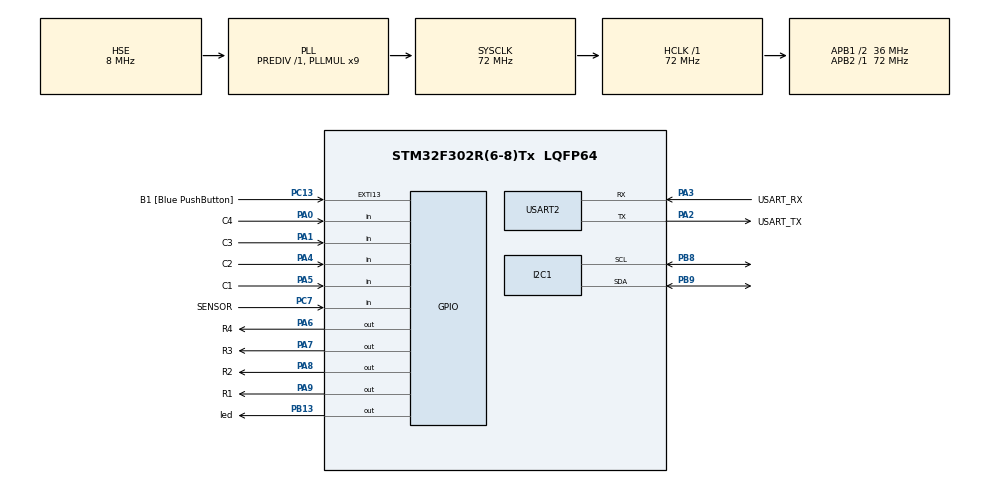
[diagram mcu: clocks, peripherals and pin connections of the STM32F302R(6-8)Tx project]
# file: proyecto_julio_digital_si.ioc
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Mcu.Family=STM32F3
Mcu.Name=STM32F302R(6-8)Tx
Mcu.Package=LQFP64
NVIC.PriorityGroup=NVIC_PRIORITYGROUP_0
PA0.GPIO_Label=C4
PA0.GPIO_PuPd=GPIO_PULLUP
PA0.Signal=GPIO_Input
PA1.GPIO_Label=C3
PA1.GPIO_PuPd=GPIO_PULLUP
PA1.Signal=GPIO_Input
PA13.GPIO_Label=TMS
PA13.Mode=Serial_Wire
PA13.Signal=SYS_JTMS-SWDIO
PA14.GPIO_Label=TCK
PA14.Mode=Serial_Wire
PA14.Signal=SYS_JTCK-SWCLK
PA2.GPIO_Label=USART_TX
PA2.GPIO_Mode=GPIO_MODE_AF_PP
PA2.GPIO_PuPd=GPIO_NOPULL
PA2.GPIO_Speed=GPIO_SPEED_FREQ_LOW
PA2.Mode=Asynchronous
PA2.Signal=USART2_TX
PA3.GPIO_Label=USART_RX
PA3.GPIO_Mode=GPIO_MODE_AF_PP
PA3.GPIO_PuPd=GPIO_NOPULL
PA3.GPIO_Speed=GPIO_SPEED_FREQ_LOW
PA3.Mode=Asynchronous
PA3.Signal=USART2_RX
PA4.GPIO_Label=C2
PA4.GPIO_PuPd=GPIO_PULLUP
PA4.Signal=GPIO_Input
PA5.GPIO_Label=C1
PA5.GPIO_PuPd=GPIO_PULLUP
PA5.Signal=GPIO_Input
PA6.GPIO_Label=R4
PA6.Signal=GPIO_Output
PA7.GPIO_Label=R3
PA7.Signal=GPIO_Output
PA8.GPIO_Label=R2
PA8.Signal=GPIO_Output
PA9.GPIO_Label=R1
PA9.Signal=GPIO_Output
PB13.GPIO_Label=led
PB13.Signal=GPIO_Output
PB8.Mode=I2C
PB8.Signal=I2C1_SCL
PB9.Mode=I2C
PB9.Signal=I2C1_SDA
PC13.GPIO_Label=B1 [Blue PushButton]
PC13.GPIO_ModeDefaultEXTI=GPIO_MODE_IT_FALLING
PC13.Signal=GPXTI13
PC14\ -\ OSC32_IN.Mode=LSE-External-Oscillator
PC14\ -\ OSC32_IN.Signal=RCC_OSC32_IN
PC15\ -\ OSC32_OUT.Mode=LSE-External-Oscillator
PC15\ -\ OSC32_OUT.Signal=RCC_OSC32_OUT
PC7.GPIO_Label=SENSOR
PC7.Signal=GPIO_Input
PF0-OSC_IN.Mode=HSE-External-Clock-Source
PF0-OSC_IN.Signal=RCC_OSC_IN
PF1-OSC_OUT.Signal=RCC_OSC_OUT
ProjectManager.HeapSize=0x200
ProjectManager.StackSize=0x400
ProjectManager.TargetToolchain=STM32CubeIDE
RCC.AHBFreq_Value=72000000
RCC.APB1CLKDivider=RCC_HCLK_DIV2
RCC.APB1Freq_Value=36000000
RCC.APB1TimFreq_Value=72000000
RCC.APB2Freq_Value=72000000
RCC.APB2TimFreq_Value=72000000
RCC.CortexFreq_Value=72000000
RCC.HCLKFreq_Value=72000000
RCC.HSE_VALUE=8000000
RCC.HSI_VALUE=8000000
RCC.PLLM=8
RCC.PLLMUL=RCC_PLL_MUL9
RCC.PLLN=336
RCC.PLLP=RCC_PLLP_DIV4
RCC.PLLQ=7
RCC.PLLSourceVirtual=RCC_PLLSOURCE_HSE
RCC.SYSCLKFreq_VALUE=72000000
RCC.SYSCLKSourceVirtual=RCC_SYSCLKSOURCE_PLLCLK
RCC.USBFreq_Value=72000000
USART2.VirtualMode-Asynchronous=VM_ASYNC
board=NUCLEO-F302R8

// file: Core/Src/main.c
/* USER CODE BEGIN Header */
/**
  ******************************************************************************
  * @file           : main.c
  * @brief          : Main program body
  ******************************************************************************
  * @attention
  *
  * Copyright (c) 2025 STMicroelectronics.
  * All rights reserved.
  *
  * This software is licensed under terms that can be found in the LICENSE file
  * in the root directory of this software component.
  * If no LICENSE file comes with this software, it is provided AS-IS.
  *
  ******************************************************************************
  */
/* USER CODE END Header */
#include "main.h"

/* USER CODE BEGIN Includes */
#include "keypadmodify.h"
#include "lcd.h"
#include <stdio.h>
#include <stdlib.h>
#include <string.h>
/* USER CODE END Includes */

/* USER CODE BEGIN PD */
#define BOMBA_PIN GPIO_PIN_8       // Define el pin para la bomba
#define BOMBA_PORT GPIOC           // Define el puerto para la bomba
#define SENSOR_HUMEDAD_PIN GPIO_PIN_0  // Define el pin ADC para sensor de humedad
#define UMBRAL_HUMEDAD_MIN 30      // Valor mínimo de humedad (0-100)
#define UMBRAL_HUMEDAD_MAX 70      // Valor óptimo de humedad (0-100)
#define TIEMPO_MAX_DEFAULT 60      // Tiempo máximo de riego predeterminado (segundos)
#define DS3231_ADDRESS 0xD0
#define TIEMPO_RIEGO_PROGRAMADO 12  // 12 segundos para el riego programado

/* USER CODE END PD */

I2C_HandleTypeDef hi2c1;

UART_HandleTypeDef huart2;

/* USER CODE BEGIN PV */
char key;
uint8_t menu_state = 0;  // 0: Menú principal, 1: Modo Automático, 2: Modo Manual, 3: Configuración
uint8_t cursor_position = 0;  // Posición del cursor en el menú
uint8_t humedad_actual = 0;   // Valor de humedad (0-100%)
uint32_t tiempo_max_riego = TIEMPO_MAX_DEFAULT;  // Tiempo máximo para riego manual
uint32_t tiempo_inicio_riego = 0;  // Para controlar el tiempo de riego manual
uint8_t bomba_activa = 0;     // Estado de la bomba
//char buffer[16];

uint8_t hora_riego = 7;     // Hora programada (por defecto 7:00)
uint8_t minuto_riego = 0;   // Minuto programado
uint8_t riego_programado_activo = 1;  // 1: activo, 0: inactivo
uint8_t configurando_hora = 0; // Estado para configuración de hora
uint32_t medida;
/* USER CODE END PV */

void SystemClock_Config(void);
static void MX_GPIO_Init(void);
static void MX_USART2_UART_Init(void);
static void MX_I2C1_Init(void);
/* USER CODE BEGIN PFP */
void display_menu(void);
void modo_automatico(void);
void modo_manual(void);
void configurar_tiempo(void);
void activar_bomba(void);
void desactivar_bomba(void);
uint8_t leer_humedad(void);
void mostrar_humedad(void);
void actualizar_estado(void);
void configurar_rtc(void);  // Añadir este prototipo
/* USER CODE END PFP */

/* USER CODE BEGIN 0 */

uint8_t decToBcd(int val)
{
  return (uint8_t)( (val/10*16) + (val%10) );
}
// Convert binary coded decimal to normal decimal numbers
int bcdToDec(uint8_t val)
{
  return (int)( (val/16*10) + (val%16) );
}

typedef struct {
	uint8_t seconds;
	uint8_t minutes;
	uint8_t hour;
	uint8_t dayofweek;
	uint8_t dayofmonth;
	uint8_t month;
	uint8_t year;
} TIME;

TIME time;

void Set_Time (uint8_t sec, uint8_t min, uint8_t hour, uint8_t dow, uint8_t dom, uint8_t month, uint8_t year)
{
	uint8_t set_time[7];
	set_time[0] = decToBcd(sec);
	set_time[1] = decToBcd(min);
	set_time[2] = decToBcd(hour);
	set_time[3] = decToBcd(dow);
	set_time[4] = decToBcd(dom);
	set_time[5] = decToBcd(month);
	set_time[6] = decToBcd(year);

	HAL_I2C_Mem_Write(&hi2c1, DS3231_ADDRESS, 0x00, 1, set_time, 7, 1000);
}

void Get_Time (void)
{
	uint8_t get_time[7];
	HAL_I2C_Mem_Read(&hi2c1, DS3231_ADDRESS, 0x00, 1, get_time, 7, 1000);
	time.seconds = bcdToDec(get_time[0]);
	time.minutes = bcdToDec(get_time[1]);
	time.hour = bcdToDec(get_time[2]);
	time.dayofweek = bcdToDec(get_time[3]);
	time.dayofmonth = bcdToDec(get_time[4]);
	time.month = bcdToDec(get_time[5]);
	time.year = bcdToDec(get_time[6]);
}

float Get_Temp (void)
{
	uint8_t temp[2];

	HAL_I2C_Mem_Read(&hi2c1, DS3231_ADDRESS, 0x11, 1, temp, 2, 1000);
	return ((temp[0])+(temp[1]>>6)/4.0);
}

void force_temp_conv (void)
{
	uint8_t status=0;
	uint8_t control=0;
	HAL_I2C_Mem_Read(&hi2c1, DS3231_ADDRESS, 0x0F, 1, &status, 1, 100);  // read status register
	if (!(status&0x04))
	{
		HAL_I2C_Mem_Read(&hi2c1, DS3231_ADDRESS, 0x0E, 1, &control, 1, 100);  // read control register
		HAL_I2C_Mem_Write(&hi2c1, DS3231_ADDRESS, 0x0E, 1, (uint8_t *)(control|(0x20)), 1, 100);
	}
}

float TEMP;
char buffer[15];

void handle_selection(void) {
    lcd_clear();

    if (cursor_position == 0) {
        lcd_enviar("MODO AUTOMATICO", 0, 0);
        lcd_enviar("ACTIVADO", 1, 0);
        // Aquí iría el código para el modo automático
    } else {
        lcd_enviar("MODO MANUAL", 0, 0);
        lcd_enviar("ACTIVADO", 1, 0);
        // Aquí iría el código para el modo manual
    }

    lcd_enviar("* PARA VOLVER", 3, 0);
}

void display_menu(void) {
    lcd_clear();

    // Solo mostramos 2 opciones a la vez (para display 16x2)
    if (cursor_position == 0) {
        lcd_enviar(">1.Auto", 0, 0);
        lcd_enviar(" 2.Manual", 1, 0);
    }
    else if (cursor_position == 1) {
        lcd_enviar(" 1.Auto", 0, 0);
        lcd_enviar(">2.Manual", 1, 0);
    }
    else if (cursor_position == 2) {
        lcd_enviar(">3.Config", 0, 0);
        lcd_enviar(" 4.Reloj", 1, 0);
    }
    else if (cursor_position == 3) {
        lcd_enviar(" 3.Config", 0, 0);
        lcd_enviar(">4.Reloj", 1, 0);
    }
}

void mostrar_reloj(void) {
    uint8_t salir = 0;

    while (!salir) {
        // Obtener la hora actual
        Get_Time();

        lcd_clear();
        sprintf(buffer, "HORA: %02d:%02d:%02d", time.hour, time.minutes, time.seconds);
        lcd_enviar(buffer, 0, 0);
        sprintf(buffer, "FECHA: %02d/%02d/%02d", time.dayofmonth, time.month, time.year);
        lcd_enviar(buffer, 1, 0);

        // Verificar entrada del usuario
        char k = Keypad_Get_Char();
        if (k != 0) {
            HAL_Delay(200);  // Debounce

            if (k == '*') {
                salir = 1;  // Volver al menú principal
            }
            else if (k == '#') {
                // Entrar en modo configuración
                configurar_rtc();
            }
        }

        HAL_Delay(200);  // Actualizar cada 200ms
    }
}

void configurar_hora_riego(void) {
    uint8_t nueva_hora = hora_riego;
    uint8_t nuevo_minuto = minuto_riego;
    uint8_t estado = 0;  // 0: configurando hora, 1: configurando minutos, 2: activar/desactivar
    uint8_t salir = 0;

    while (!salir) {
        lcd_clear();

        if (estado == 0) {
            lcd_enviar("CONF. HORA RIEGO", 0, 0);
            sprintf(buffer, "HORA: %02d  #:SIG", nueva_hora);
            lcd_enviar(buffer, 1, 0);
        }
        else if (estado == 1) {
            lcd_enviar("CONF. MIN RIEGO", 0, 0);
            sprintf(buffer, "MIN: %02d  #:SIG", nuevo_minuto);
            lcd_enviar(buffer, 1, 0);
        }
        else if (estado == 2) {
            lcd_enviar("PROGRAMADOR", 0, 0);
            sprintf(buffer, "%s  #:GUARDAR", riego_programado_activo ? "ACTIVADO" : "DESACTIVADO");
            lcd_enviar(buffer, 1, 0);
        }

        char k = Keypad_Get_Char();

        if (k != 0) {
            HAL_Delay(200);  // Debounce

            if (estado == 0) {  // Configurando hora
                if (k >= '0' && k <= '9') {
                    uint8_t valor = k - '0';
                    if (valor <= 23) {
                        nueva_hora = valor;
                    }
                }
                else if (k == 'A' && nueva_hora < 23) {
                    nueva_hora++;
                }
                else if (k == 'B' && nueva_hora > 0) {
                    nueva_hora--;
                }
                else if (k == '#') {
                    estado = 1;  // Pasar a configurar minutos
                }
                else if (k == '*') {
                    salir = 1;  // Cancelar
                }
            }
            else if (estado == 1) {  // Configurando minutos
                if (k >= '0' && k <= '9') {
                    uint8_t valor = k - '0';
                    if (valor <= 59) {
                        nuevo_minuto = valor;
                    }
                }
                else if (k == 'A' && nuevo_minuto < 59) {
                    nuevo_minuto++;
                }
                else if (k == 'B' && nuevo_minuto > 0) {
                    nuevo_minuto--;
                }
                else if (k == '#') {
                    estado = 2;  // Pasar a activar/desactivar
                }
                else if (k == '*') {
                    estado = 0;  // Volver a configurar hora
                }
            }
            else if (estado == 2) {  // Activando/desactivando
                if (k == 'A' || k == 'B') {
                    riego_programado_activo = !riego_programado_activo;
                }
                else if (k == '#') {
                    // Guardar configuración
                    hora_riego = nueva_hora;
                    minuto_riego = nuevo_minuto;

                    lcd_clear();
                    lcd_enviar("HORA GUARDADA", 0, 0);
                    sprintf(buffer, "%02d:%02d %s", hora_riego, minuto_riego,
                            riego_programado_activo ? "ON" : "OFF");
                    lcd_enviar(buffer, 1, 0);
                    HAL_Delay(1500);

                    salir = 1;
                }
                else if (k == '*') {
                    estado = 1;  // Volver a configurar minutos
                }
            }
        }
    }
}

void modo_automatico(void) {
    lcd_clear();

    // Leer el estado actual del sensor de humedad
    humedad_actual = leer_humedad();

    // Variable estática para saber si se activó por tiempo programado
    static uint8_t activado_por_tiempo = 0;

    // Si está regando, mostrar información según el origen
    if (bomba_activa) {
        if (activado_por_tiempo) {
            // Mostrar tiempo restante si fue activado por tiempo programado
            uint32_t tiempo_transcurrido = (HAL_GetTick() - tiempo_inicio_riego) / 1000;
            uint32_t tiempo_restante = TIEMPO_RIEGO_PROGRAMADO;

            if (tiempo_transcurrido < TIEMPO_RIEGO_PROGRAMADO) {
                tiempo_restante = TIEMPO_RIEGO_PROGRAMADO - tiempo_transcurrido;
                lcd_enviar("REGANDO:TIEMPO", 0, 0);
                sprintf(buffer, "RESTA: %lu seg", tiempo_restante);
                lcd_enviar(buffer, 1, 0);

                // Si se completó el tiempo, desactivar bomba
                if (tiempo_restante <= 0) {
                    desactivar_bomba();
                    activado_por_tiempo = 0;
                }
            } else {
                desactivar_bomba();
                activado_por_tiempo = 0;
            }
        } else if (humedad_actual < UMBRAL_HUMEDAD_MIN) {
            // Activado por humedad baja
            lcd_enviar("REGANDO:HUMEDAD", 0, 0);
            sprintf(buffer, "HUM:%d%% BAJA", humedad_actual);
            lcd_enviar(buffer, 1, 0);
        }
    } else {
        // Mostrar hora actual en el modo standby
        sprintf(buffer, "AUTO %02d:%02d:%02d", time.hour, time.minutes, time.seconds);
        lcd_enviar(buffer, 0, 0);

        // Mostrar información alternada en segunda línea
        static uint8_t mostrar_info = 0;

        if (mostrar_info == 0) {
            // Mostrar humedad actual y opción de configuración
            sprintf(buffer, "HUM:%d%% C:CFG", humedad_actual);
            lcd_enviar(buffer, 1, 0);
        } else {
            // Mostrar hora programada
            sprintf(buffer, "PROG:%02d:%02d %s", hora_riego, minuto_riego,
                    riego_programado_activo ? "ON" : "OFF");
            lcd_enviar(buffer, 1, 0);
        }

        // Alternar la información mostrada cada 3 segundos
        static uint32_t ultimo_cambio = 0;
        if (HAL_GetTick() - ultimo_cambio >= 3000) {
            mostrar_info = !mostrar_info;
            ultimo_cambio = HAL_GetTick();
        }

        // Lógica de control automático por humedad
        if (humedad_actual < UMBRAL_HUMEDAD_MIN && !bomba_activa) {
            activar_bomba();
            activado_por_tiempo = 0;  // No activado por tiempo
            lcd_clear();
            lcd_enviar("REGANDO:HUMEDAD", 0, 0);
            sprintf(buffer, "HUM:%d%% BAJA", humedad_actual);
            lcd_enviar(buffer, 1, 0);
        }
        else if (humedad_actual >= UMBRAL_HUMEDAD_MAX && bomba_activa && !activado_por_tiempo) {
            desactivar_bomba();
        }

        // Lógica de riego programado
        if (riego_programado_activo && !bomba_activa) {
            // Actualizar la hora actual ya se hace en el bucle principal
            if (time.hour == hora_riego && time.minutes == minuto_riego && time.seconds < 10) {
                // Iniciar riego si es la hora programada
                activar_bomba();
                activado_por_tiempo = 1;  // Marcar como activado por tiempo
                lcd_clear();
                lcd_enviar("REGANDO:TIEMPO", 0, 0);
                sprintf(buffer, "PROG:%02d:%02d %ds", hora_riego, minuto_riego, TIEMPO_RIEGO_PROGRAMADO);
                lcd_enviar(buffer, 1, 0);
            }
        }
    }
}

void modo_manual(void) {
    lcd_clear();
    lcd_enviar("MODO MANUAL", 0, 0);
    sprintf(buffer, "TIEMPO: %lu s", tiempo_max_riego);
    lcd_enviar(buffer, 1, 0);

    if (bomba_activa) {
        uint32_t tiempo_transcurrido = (HAL_GetTick() - tiempo_inicio_riego) / 1000;
        uint32_t tiempo_restante = tiempo_max_riego;

        if (tiempo_transcurrido < tiempo_max_riego) {
            tiempo_restante = tiempo_max_riego - tiempo_transcurrido;
            lcd_clear();
            lcd_enviar("REGANDO", 0, 0);
            sprintf(buffer, "%lu s  C:PARAR", tiempo_restante);
            lcd_enviar(buffer, 1, 0);
        } else {
            desactivar_bomba();
            lcd_clear();
            lcd_enviar("COMPLETO", 0, 0);
            lcd_enviar("* PARA VOLVER", 1, 0);
        }
    } else {
        lcd_clear();
        lcd_enviar("A+ B- #:RIEGO", 0, 0);
        sprintf(buffer, "TIEMPO: %lu s", tiempo_max_riego);
        lcd_enviar(buffer, 1, 0);
    }
}
void configurar_tiempo(void) {
    lcd_clear();
    lcd_enviar("CONFIG. TIEMPO", 0, 0);
    sprintf(buffer, "ACTUAL: %d seg", tiempo_max_riego);
    lcd_enviar(buffer, 1, 0);

    // Instrucciones para usar letras
    lcd_enviar("A:+5 B:+10 C:+30 D:-", 2, 0);
    lcd_enviar("* CANCEL   # GUARDAR", 3, 0);

    uint32_t nuevo_tiempo = tiempo_max_riego;
    int salir = 0;

    while (!salir) {
        char k = Keypad_Get_Char();

        if (k != 0) {
            HAL_Delay(200);  // Debounce

            switch(k) {
                case 'A':
                    nuevo_tiempo += 5;  // Incrementar 5 segundos
                    lcd_clear();
                    lcd_enviar("CONFIG. TIEMPO", 0, 0);
                    sprintf(buffer, "NUEVO: %d seg", nuevo_tiempo);
                    lcd_enviar(buffer, 1, 0);
                    lcd_enviar("A:+5 B:+10 C:+30 D:-", 2, 0);
                    lcd_enviar("* CANCEL   # GUARDAR", 3, 0);
                    break;

                case 'B':
                    nuevo_tiempo += 10;  // Incrementar 10 segundos
                    lcd_clear();
                    lcd_enviar("CONFIG. TIEMPO", 0, 0);
                    sprintf(buffer, "NUEVO: %d seg", nuevo_tiempo);
                    lcd_enviar(buffer, 1, 0);
                    lcd_enviar("A:+5 B:+10 C:+30 D:-", 2, 0);
                    lcd_enviar("* CANCEL   # GUARDAR", 3, 0);
                    break;

                case 'C':
                    nuevo_tiempo += 30;  // Incrementar 30 segundos
                    lcd_clear();
                    lcd_enviar("CONFIG. TIEMPO", 0, 0);
                    sprintf(buffer, "NUEVO: %d seg", nuevo_tiempo);
                    lcd_enviar(buffer, 1, 0);
                    lcd_enviar("A:+5 B:+10 C:+30 D:-", 2, 0);
                    lcd_enviar("* CANCEL   # GUARDAR", 3, 0);
                    break;

                case 'D':
                    if (nuevo_tiempo > 5) {
                        nuevo_tiempo = nuevo_tiempo / 2;  // Reducir a la mitad (más divertido que solo restar)
                    }
                    lcd_clear();
                    lcd_enviar("CONFIG. TIEMPO", 0, 0);
                    sprintf(buffer, "NUEVO: %d seg", nuevo_tiempo);
                    lcd_enviar(buffer, 1, 0);
                    lcd_enviar("A:+5 B:+10 C:+30 D:-", 2, 0);
                    lcd_enviar("* CANCEL   # GUARDAR", 3, 0);
                    break;

                case '#':
                    // Limitar el tiempo máximo a 300 segundos (5 minutos)
                    if (nuevo_tiempo > 300) nuevo_tiempo = 300;
                    if (nuevo_tiempo < 5) nuevo_tiempo = 5;

                    tiempo_max_riego = nuevo_tiempo;

                    // Mostrar animación de guardado
                    lcd_clear();
                    lcd_enviar("GUARDANDO", 0, 0);
                    lcd_enviar("[          ]", 1, 0);

                    for (int i = 1; i <= 10; i++) {
                        sprintf(buffer, "[");
                        for (int j = 0; j < i; j++) {
                            strcat(buffer, "#");
                        }
                        for (int j = i; j < 10; j++) {
                            strcat(buffer, " ");
                        }
                        strcat(buffer, "]");
                        lcd_enviar(buffer, 1, 0);
                        HAL_Delay(100);
                    }

                    lcd_clear();
                    lcd_enviar("TIEMPO CONFIGURADO", 0, 0);
                    sprintf(buffer, "NUEVO: %d seg", tiempo_max_riego);
                    lcd_enviar(buffer, 1, 0);
                    HAL_Delay(1500);

                    salir = 1;
                    break;

                case '*':
                    // Mostrar mensaje de cancelación
                    lcd_clear();
                    lcd_enviar("CONFIGURACION", 0, 0);
                    lcd_enviar("CANCELADA", 1, 0);
                    HAL_Delay(1000);
                    salir = 1;
                    break;
            }
        }
    }
}
void verificar_tiempo_riego(void) {
    if (bomba_activa && menu_state == 2) {  // Solo en modo manual
        uint32_t tiempo_actual = HAL_GetTick();
        uint32_t tiempo_transcurrido = (tiempo_actual - tiempo_inicio_riego) / 1000;

        if (tiempo_transcurrido >= tiempo_max_riego) {
            desactivar_bomba();
            modo_manual();  // Actualizar la pantalla
        }
    }
}

void activar_bomba(void) {
    // Activar bomba
    HAL_GPIO_WritePin(BOMBA_PORT, BOMBA_PIN, GPIO_PIN_SET);
    // Activar LED indicador
    HAL_GPIO_WritePin(led_GPIO_Port, led_Pin, GPIO_PIN_SET);
    bomba_activa = 1;
    tiempo_inicio_riego = HAL_GetTick();  // Registrar tiempo de inicio
}

void desactivar_bomba(void) {
    // Desactivar bomba
    HAL_GPIO_WritePin(BOMBA_PORT, BOMBA_PIN, GPIO_PIN_RESET);
    // Desactivar LED indicador
    HAL_GPIO_WritePin(led_GPIO_Port, led_Pin, GPIO_PIN_RESET);
    bomba_activa = 0;
}

uint8_t leer_humedad(void) {
    // Leer el pin digital del sensor
    // Si el pin es LOW (0), indica que hay humedad (suelo húmedo)
    // Si el pin es HIGH (1), indica que no hay humedad (suelo seco)

    if (HAL_GPIO_ReadPin(SENSOR_GPIO_Port, SENSOR_Pin) == GPIO_PIN_RESET) {
        // Sensor detecta humedad (pin en LOW)
        return 85; // Valor alto de humedad (85%)
    } else {
        // Sensor no detecta humedad (pin en HIGH)
        return 15; // Valor bajo de humedad (15%)
    }
}

void actualizar_estado(void) {
    // Verificar si el riego manual ha excedido el tiempo máximo
    if (bomba_activa && menu_state == 2) {  // En modo manual
        uint32_t tiempo_transcurrido = (HAL_GetTick() - tiempo_inicio_riego) / 1000;
        if (tiempo_transcurrido >= tiempo_max_riego) {
            desactivar_bomba();
        }
    }
}
void configurar_rtc(void) {
    TIME nueva_config;

    // Obtener hora actual como punto de partida
    Get_Time();
    nueva_config = time;

    uint8_t paso = 0;  // 0:hora, 1:min, 2:día, 3:mes, 4:año
    uint8_t salir = 0;

    while (!salir) {
        lcd_clear();

        // Mostrar el parámetro actual que se está configurando
        switch (paso) {
            case 0:  // Configurando hora
                lcd_enviar("CONFIGURAR HORA", 0, 0);
                sprintf(buffer, "HORA: %02d A+ B-", nueva_config.hour);
                lcd_enviar(buffer, 1, 0);
                break;

            case 1:  // Configurando minutos
                lcd_enviar("CONFIGURAR MIN", 0, 0);
                sprintf(buffer, "MIN: %02d  A+ B-", nueva_config.minutes);
                lcd_enviar(buffer, 1, 0);
                break;

            case 2:  // Configurando día
                lcd_enviar("CONFIGURAR DIA", 0, 0);
                sprintf(buffer, "DIA: %02d  A+ B-", nueva_config.dayofmonth);
                lcd_enviar(buffer, 1, 0);
                break;

            case 3:  // Configurando mes
                lcd_enviar("CONFIGURAR MES", 0, 0);
                sprintf(buffer, "MES: %02d  A+ B-", nueva_config.month);
                lcd_enviar(buffer, 1, 0);
                break;

            case 4:  // Configurando año
                lcd_enviar("CONFIGURAR AÑO", 0, 0);
                sprintf(buffer, "AÑO: 20%02d A+ B-", nueva_config.year);
                lcd_enviar(buffer, 1, 0);
                break;
        }

        // Esperar entrada del teclado
        char k = Keypad_Get_Char();

        if (k != 0) {
            HAL_Delay(200);  // Debounce

            switch (k) {
                case 'A':  // Incrementar valor
                    switch (paso) {
                        case 0:  // Hora
                            if (nueva_config.hour < 23) nueva_config.hour++;
                            else nueva_config.hour = 0;  // Circular
                            break;

                        case 1:  // Minutos
                            if (nueva_config.minutes < 59) nueva_config.minutes++;
                            else nueva_config.minutes = 0;  // Circular
                            break;

                        case 2:  // Día
                            if (nueva_config.dayofmonth < 31) nueva_config.dayofmonth++;
                            else nueva_config.dayofmonth = 1;  // Circular
                            break;

                        case 3:  // Mes
                            if (nueva_config.month < 12) nueva_config.month++;
                            else nueva_config.month = 1;  // Circular
                            break;

                        case 4:  // Año
                            if (nueva_config.year < 99) nueva_config.year++;
                            else nueva_config.year = 0;  // Circular
                            break;
                    }
                    break;

                case 'B':  // Decrementar valor
                    switch (paso) {
                        case 0:  // Hora
                            if (nueva_config.hour > 0) nueva_config.hour--;
                            else nueva_config.hour = 23;  // Circular
                            break;

                        case 1:  // Minutos
                            if (nueva_config.minutes > 0) nueva_config.minutes--;
                            else nueva_config.minutes = 59;  // Circular
                            break;

                        case 2:  // Día
                            if (nueva_config.dayofmonth > 1) nueva_config.dayofmonth--;
                            else nueva_config.dayofmonth = 31;  // Circular
                            break;

                        case 3:  // Mes
                            if (nueva_config.month > 1) nueva_config.month--;
                            else nueva_config.month = 12;  // Circular
                            break;

                        case 4:  // Año
                            if (nueva_config.year > 0) nueva_config.year--;
                            else nueva_config.year = 99;  // Circular
                            break;
                    }
                    break;

                case '#':  // Siguiente parámetro
                    paso++;
                    if (paso > 4) {  // Finalizar configuración
                        // Validar fecha (días del mes)
                        if (nueva_config.dayofmonth > 30 && (nueva_config.month == 4 ||
                            nueva_config.month == 6 || nueva_config.month == 9 ||
                            nueva_config.month == 11)) {
                            nueva_config.dayofmonth = 30;
                        } else if (nueva_config.month == 2) {
                            // Febrero
                            if (nueva_config.dayofmonth > 29) {
                                nueva_config.dayofmonth = 29;
                            }

                            // Verificar año bisiesto
                            int anio = 2000 + nueva_config.year;
                            if ((anio % 4 != 0) || (anio % 100 == 0 && anio % 400 != 0)) {
                                // No es bisiesto
                                if (nueva_config.dayofmonth > 28) {
                                    nueva_config.dayofmonth = 28;
                                }
                            }
                        }

                        // Calcular día de la semana (1=Lunes, 7=Domingo)
                        int d = nueva_config.dayofmonth;
                        int m = nueva_config.month;
                        int y = 2000 + nueva_config.year;
                        if (m < 3) {
                            m += 12;
                            y--;
                        }
                        int dow = (d + 2*m + 3*(m+1)/5 + y + y/4 - y/100 + y/400) % 7 + 1;
                        nueva_config.dayofweek = dow;

                        // Guardar en RTC
                        Set_Time(0, nueva_config.minutes, nueva_config.hour,
                                 nueva_config.dayofweek, nueva_config.dayofmonth,
                                 nueva_config.month, nueva_config.year);

                        // Mostrar confirmación
                        lcd_clear();
                        lcd_enviar("FECHA Y HORA", 0, 0);
                        lcd_enviar("CONFIGURADAS", 1, 0);
                        HAL_Delay(1500);

                        salir = 1;
                    }
                    break;

                case '*':  // Cancelar
                    lcd_clear();
                    lcd_enviar("CONFIGURACION", 0, 0);
                    lcd_enviar("CANCELADA", 1, 0);
                    HAL_Delay(1000);
                    salir = 1;
                    break;
            }
        }
    }
}

/* USER CODE END 0 */

int main(void)
{

  /* MCU Configuration--------------------------------------------------------*/

  /* Reset of all peripherals, Initializes the Flash interface and the Systick. */
  HAL_Init();

  /* Configure the system clock */
  SystemClock_Config();

  /* Initialize all configured peripherals */
  MX_GPIO_Init();
  MX_USART2_UART_Init();
  MX_I2C1_Init();
  /* USER CODE BEGIN 2 */

  // Configurar el pin de la bomba como salida
  GPIO_InitTypeDef GPIO_InitStruct = {0};
  GPIO_InitStruct.Pin = BOMBA_PIN;
  GPIO_InitStruct.Mode = GPIO_MODE_OUTPUT_PP;
  GPIO_InitStruct.Pull = GPIO_NOPULL;
  GPIO_InitStruct.Speed = GPIO_SPEED_FREQ_LOW;
  HAL_GPIO_Init(BOMBA_PORT, &GPIO_InitStruct);

  // Asegurarse de que la bomba esté apagada al inicio
  desactivar_bomba();

  // Inicializar LCD
  lcd_init();

  // Mostrar pantalla de bienvenida
  lcd_enviar("SISTEMA DE RIEGO", 0, 0);
  lcd_enviar("INTELIGENTE", 1, 0);
  HAL_Delay(2000);

  // Mostrar menú principal
  display_menu();

  Set_Time(0, 47, 18, 4, 10, 4, 25);  // 10 de Abril de 2025, 14:30:00, Jueves
  /* USER CODE END 2 */

  /* Infinite loop */
  /* USER CODE BEGIN WHILE */
  while (1)
  {

	  // Obtener la hora actual del RTC
	      Get_Time();

	      // Verificar tiempo de riego (para apagar la bomba si se excede el tiempo)
	      verificar_tiempo_riego();

	      // Actualizar estado del sistema
	      actualizar_estado();

	      // Verificar riego programado (si estamos en modo automático)
	      if (menu_state == 1 && riego_programado_activo && !bomba_activa) {
	          if (time.hour == hora_riego && time.minutes == minuto_riego && time.seconds < 10) {
	              // Iniciar riego si es la hora programada
	              activar_bomba();
	              modo_automatico();  // Actualizar pantalla
	          }
	      }

	      // Leer tecla del keypad
	      char key = Keypad_Get_Char();

	      if (key != 0) {
	          if (menu_state == 0) {  // En el menú principal
	              switch (key) {
	                  case '2':  // Mover cursor hacia abajo
	                      cursor_position = (cursor_position + 1) % 3;
	                      display_menu();
	                      break;

	                  case '8':  // Mover cursor hacia arriba
	                      cursor_position = (cursor_position + 2) % 3;
	                      display_menu();
	                      break;

	                  case '#':  // Seleccionar opción
	                      menu_state = cursor_position + 1;
	                      if (menu_state == 1) {       // Modo Automático
	                          modo_automatico();
	                      } else if (menu_state == 2) { // Modo Manual
	                          modo_manual();
	                      } else if (menu_state == 3) { // Configuración
	                          configurar_tiempo();
	                          menu_state = 0;
	                          display_menu();
	                      }else if (cursor_position == 3) {  // Nueva opción 4 para reloj
	                          mostrar_reloj();
	                          menu_state = 0;
	                          display_menu();
	                      }
	                      break;

	                  case '1':  // Acceso directo a modo automático
	                      menu_state = 1;
	                      modo_automatico();
	                      break;

	                  case '3':  // Acceso directo a modo manual
	                      menu_state = 2;
	                      modo_manual();
	                      break;

	                  case '4':  // Acceso directo a ver el reloj
	                              mostrar_reloj();
	                              menu_state = 0;
	                              display_menu();
	                              break;
	              }
	          }
	          else if (menu_state == 1) {  // En modo automático
	              if (key == '*') {  // Volver al menú principal
	                  menu_state = 0;
	                  display_menu();
	              }
	              else if (key == 'C') {  // Configurar hora de riego
	                  configurar_hora_riego();
	                  modo_automatico();  // Actualizar pantalla
	              }
	          }
	          else if (menu_state == 2) {  // En modo manual
	              if (key == '*') {  // Volver al menú principal
	                  if (bomba_activa) {
	                      desactivar_bomba();  // Apagar bomba al salir
	                  }
	                  menu_state = 0;
	                  display_menu();
	              }
	              else if (key == '#' && !bomba_activa) {
	                  activar_bomba();  // Iniciar riego con el tiempo configurado
	                  modo_manual();    // Actualizar pantalla
	              }
	              else if (key == 'A' && !bomba_activa) {
	                  // Aumentar tiempo de riego de 5 en 5
	                  tiempo_max_riego += 5;
	                  if (tiempo_max_riego > 300) tiempo_max_riego = 300;  // Máximo 5 minutos
	                  modo_manual();    // Actualizar pantalla con el nuevo tiempo
	              }
	              else if (key == 'B' && !bomba_activa) {
	                  // Disminuir tiempo de riego de 5 en 5
	                  if (tiempo_max_riego > 5) {
	                      tiempo_max_riego -= 5;
	                  }
	                  modo_manual();    // Actualizar pantalla con el nuevo tiempo
	              }
	              else if (key == 'C' && bomba_activa) {
	                  // Detener el riego manualmente
	                  desactivar_bomba();
	                  lcd_clear();
	                  lcd_enviar("RIEGO DETENIDO", 0, 0);
	                  HAL_Delay(1000);
	                  modo_manual();    // Actualizar pantalla
	              }
	          }
	          HAL_Delay(200);  // Debounce para evitar múltiples detecciones
	      }

	      // Actualizar pantalla según el modo actual
	      if (menu_state == 1) {  // En modo automático
	          // Actualizar cada segundo
	          static uint32_t last_update = 0;
	          if (HAL_GetTick() - last_update >= 1000) {
	              modo_automatico();
	              last_update = HAL_GetTick();
	          }
	      }
	      else if (menu_state == 2 && bomba_activa) {  // En modo manual con bomba activa
	          // Actualizar cada segundo
	          static uint32_t last_manual_update = 0;
	          if (HAL_GetTick() - last_manual_update >= 1000) {
	              modo_manual();
	              last_manual_update = HAL_GetTick();
	          }
	      }

    /* USER CODE END WHILE */

  }
}

void SystemClock_Config(void)
{
  RCC_OscInitTypeDef RCC_OscInitStruct = {0};
  RCC_ClkInitTypeDef RCC_ClkInitStruct = {0};
  RCC_PeriphCLKInitTypeDef PeriphClkInit = {0};

  /** Initializes the RCC Oscillators according to the specified parameters
  * in the RCC_OscInitTypeDef structure.
  */
  RCC_OscInitStruct.OscillatorType = RCC_OSCILLATORTYPE_HSI|RCC_OSCILLATORTYPE_HSE;
  RCC_OscInitStruct.HSEState = RCC_HSE_BYPASS;
  RCC_OscInitStruct.HSEPredivValue = RCC_HSE_PREDIV_DIV1;
  RCC_OscInitStruct.HSIState = RCC_HSI_ON;
  RCC_OscInitStruct.HSICalibrationValue = RCC_HSICALIBRATION_DEFAULT;
  RCC_OscInitStruct.PLL.PLLState = RCC_PLL_ON;
  RCC_OscInitStruct.PLL.PLLSource = RCC_PLLSOURCE_HSE;
  RCC_OscInitStruct.PLL.PLLMUL = RCC_PLL_MUL9;
  if (HAL_RCC_OscConfig(&RCC_OscInitStruct) != HAL_OK)
  {
    Error_Handler();
  }

  /** Initializes the CPU, AHB and APB buses clocks
  */
  RCC_ClkInitStruct.ClockType = RCC_CLOCKTYPE_HCLK|RCC_CLOCKTYPE_SYSCLK
                              |RCC_CLOCKTYPE_PCLK1|RCC_CLOCKTYPE_PCLK2;
  RCC_ClkInitStruct.SYSCLKSource = RCC_SYSCLKSOURCE_PLLCLK;
  RCC_ClkInitStruct.AHBCLKDivider = RCC_SYSCLK_DIV1;
  RCC_ClkInitStruct.APB1CLKDivider = RCC_HCLK_DIV2;
  RCC_ClkInitStruct.APB2CLKDivider = RCC_HCLK_DIV1;

  if (HAL_RCC_ClockConfig(&RCC_ClkInitStruct, FLASH_LATENCY_2) != HAL_OK)
  {
    Error_Handler();
  }
  PeriphClkInit.PeriphClockSelection = RCC_PERIPHCLK_I2C1;
  PeriphClkInit.I2c1ClockSelection = RCC_I2C1CLKSOURCE_HSI;
  if (HAL_RCCEx_PeriphCLKConfig(&PeriphClkInit) != HAL_OK)
  {
    Error_Handler();
  }
}

static void MX_I2C1_Init(void)
{

  hi2c1.Instance = I2C1;
  hi2c1.Init.Timing = 0x2000090E;
  hi2c1.Init.OwnAddress1 = 0;
  hi2c1.Init.AddressingMode = I2C_ADDRESSINGMODE_7BIT;
  hi2c1.Init.DualAddressMode = I2C_DUALADDRESS_DISABLE;
  hi2c1.Init.OwnAddress2 = 0;
  hi2c1.Init.OwnAddress2Masks = I2C_OA2_NOMASK;
  hi2c1.Init.GeneralCallMode = I2C_GENERALCALL_DISABLE;
  hi2c1.Init.NoStretchMode = I2C_NOSTRETCH_DISABLE;
  if (HAL_I2C_Init(&hi2c1) != HAL_OK)
  {
    Error_Handler();
  }

  /** Configure Analogue filter
  */
  if (HAL_I2CEx_ConfigAnalogFilter(&hi2c1, I2C_ANALOGFILTER_ENABLE) != HAL_OK)
  {
    Error_Handler();
  }

  /** Configure Digital filter
  */
  if (HAL_I2CEx_ConfigDigitalFilter(&hi2c1, 0) != HAL_OK)
  {
    Error_Handler();
  }

}

static void MX_USART2_UART_Init(void)
{

  huart2.Instance = USART2;
  huart2.Init.BaudRate = 38400;
  huart2.Init.WordLength = UART_WORDLENGTH_8B;
  huart2.Init.StopBits = UART_STOPBITS_1;
  huart2.Init.Parity = UART_PARITY_NONE;
  huart2.Init.Mode = UART_MODE_TX_RX;
  huart2.Init.HwFlowCtl = UART_HWCONTROL_NONE;
  huart2.Init.OverSampling = UART_OVERSAMPLING_16;
  huart2.Init.OneBitSampling = UART_ONE_BIT_SAMPLE_DISABLE;
  huart2.AdvancedInit.AdvFeatureInit = UART_ADVFEATURE_NO_INIT;
  if (HAL_UART_Init(&huart2) != HAL_OK)
  {
    Error_Handler();
  }

}

static void MX_GPIO_Init(void)
{
  GPIO_InitTypeDef GPIO_InitStruct = {0};

  /* GPIO Ports Clock Enable */
  __HAL_RCC_GPIOC_CLK_ENABLE();
  __HAL_RCC_GPIOF_CLK_ENABLE();
  __HAL_RCC_GPIOA_CLK_ENABLE();
  __HAL_RCC_GPIOB_CLK_ENABLE();

  /*Configure GPIO pin Output Level */
  HAL_GPIO_WritePin(GPIOA, R4_Pin|R3_Pin|R2_Pin|R1_Pin, GPIO_PIN_RESET);

  /*Configure GPIO pin Output Level */
  HAL_GPIO_WritePin(led_GPIO_Port, led_Pin, GPIO_PIN_RESET);

  /*Configure GPIO pin : B1_Pin */
  GPIO_InitStruct.Pin = B1_Pin;
  GPIO_InitStruct.Mode = GPIO_MODE_IT_FALLING;
  GPIO_InitStruct.Pull = GPIO_NOPULL;
  HAL_GPIO_Init(B1_GPIO_Port, &GPIO_InitStruct);

  /*Configure GPIO pins : C4_Pin C3_Pin C2_Pin C1_Pin */
  GPIO_InitStruct.Pin = C4_Pin|C3_Pin|C2_Pin|C1_Pin;
  GPIO_InitStruct.Mode = GPIO_MODE_INPUT;
  GPIO_InitStruct.Pull = GPIO_PULLUP;
  HAL_GPIO_Init(GPIOA, &GPIO_InitStruct);

  /*Configure GPIO pins : R4_Pin R3_Pin R2_Pin R1_Pin */
  GPIO_InitStruct.Pin = R4_Pin|R3_Pin|R2_Pin|R1_Pin;
  GPIO_InitStruct.Mode = GPIO_MODE_OUTPUT_PP;
  GPIO_InitStruct.Pull = GPIO_NOPULL;
  GPIO_InitStruct.Speed = GPIO_SPEED_FREQ_LOW;
  HAL_GPIO_Init(GPIOA, &GPIO_InitStruct);

  /*Configure GPIO pin : led_Pin */
  GPIO_InitStruct.Pin = led_Pin;
  GPIO_InitStruct.Mode = GPIO_MODE_OUTPUT_PP;
  GPIO_InitStruct.Pull = GPIO_NOPULL;
  GPIO_InitStruct.Speed = GPIO_SPEED_FREQ_LOW;
  HAL_GPIO_Init(led_GPIO_Port, &GPIO_InitStruct);

  /*Configure GPIO pin : SENSOR_Pin */
  GPIO_InitStruct.Pin = SENSOR_Pin;
  GPIO_InitStruct.Mode = GPIO_MODE_INPUT;
  GPIO_InitStruct.Pull = GPIO_NOPULL;
  HAL_GPIO_Init(SENSOR_GPIO_Port, &GPIO_InitStruct);

}

void Error_Handler(void)
{
  __disable_irq();
  while (1)
  {
  }
}
